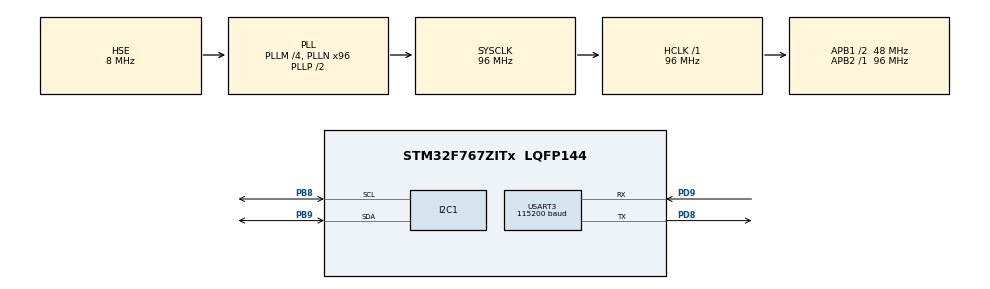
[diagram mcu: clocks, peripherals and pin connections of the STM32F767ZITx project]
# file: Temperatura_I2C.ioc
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I2C1.I2C_Fall_Time=100
I2C1.I2C_Rise_Time=100
I2C1.Timing=0x10805D88
Mcu.Family=STM32F7
Mcu.Name=STM32F767ZITx
Mcu.Package=LQFP144
NVIC.PriorityGroup=NVIC_PRIORITYGROUP_4
PB8.Mode=I2C
PB8.Signal=I2C1_SCL
PB9.Mode=I2C
PB9.Signal=I2C1_SDA
PC14/OSC32_IN.Mode=LSE-External-Oscillator
PC14/OSC32_IN.Signal=RCC_OSC32_IN
PC15/OSC32_OUT.Mode=LSE-External-Oscillator
PC15/OSC32_OUT.Signal=RCC_OSC32_OUT
PD8.Mode=Asynchronous
PD8.Signal=USART3_TX
PD9.Mode=Asynchronous
PD9.Signal=USART3_RX
PH0/OSC_IN.Mode=HSE-External-Oscillator
PH0/OSC_IN.Signal=RCC_OSC_IN
PH1/OSC_OUT.Mode=HSE-External-Oscillator
PH1/OSC_OUT.Signal=RCC_OSC_OUT
ProjectManager.HeapSize=0x200
ProjectManager.StackSize=0x400
ProjectManager.TargetToolchain=STM32CubeIDE
RCC.48MHZClocksFreq_Value=24000000
RCC.AHBFreq_Value=96000000
RCC.APB1CLKDivider=RCC_HCLK_DIV2
RCC.APB1Freq_Value=48000000
RCC.APB1TimFreq_Value=96000000
RCC.APB2Freq_Value=96000000
RCC.APB2TimFreq_Value=96000000
RCC.CortexFreq_Value=96000000
RCC.HCLKFreq_Value=96000000
RCC.HSE_VALUE=8000000
RCC.HSI_VALUE=16000000
RCC.PLLM=4
RCC.PLLMUL=RCC_PLL_MUL9
RCC.PLLN=96
RCC.PLLQ=4
RCC.PLLSourceVirtual=RCC_PLLSOURCE_HSE
RCC.PRESCALERUSB=RCC_USBCLKSOURCE_PLL_DIV1_5
RCC.SYSCLKFreq_VALUE=96000000
RCC.SYSCLKSource=RCC_SYSCLKSOURCE_PLLCLK
RCC.SYSCLKSourceVirtual=RCC_SYSCLKSOURCE_PLLCLK
RCC.USBFreq_Value=48000000
RCC.VCOOutputFreq_Value=192000000
USART3.BaudRate=115200
USART3.VirtualMode-Asynchronous=VM_ASYNC
board=NUCLEO-F767ZI

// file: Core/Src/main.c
/* USER CODE BEGIN Header */
/**
  ******************************************************************************
  * @file           : main.c
  * @brief          : Main program body
  ******************************************************************************
  * @attention
  *
  * Copyright (c) 2022 STMicroelectronics.
  * All rights reserved.
  *
  * This software is licensed under terms that can be found in the LICENSE file
  * in the root directory of this software component.
  * If no LICENSE file comes with this software, it is provided AS-IS.
  *
  ******************************************************************************
  */
/* USER CODE END Header */
#include "main.h"
#include <stdio.h>
#include <stdlib.h>
#include <string.h>

I2C_HandleTypeDef hi2c1;

UART_HandleTypeDef huart3;

void SystemClock_Config(void);
static void MX_GPIO_Init(void);
static void MX_USART3_UART_Init(void);
static void MX_I2C1_Init(void);

int main(void)
{

  /* MCU Configuration--------------------------------------------------------*/

  /* Reset of all peripherals, Initializes the Flash interface and the Systick. */
  HAL_Init();

  /* Configure the system clock */
  SystemClock_Config();

  /* Initialize all configured peripherals */
  MX_GPIO_Init();
  MX_USART3_UART_Init();
  MX_I2C1_Init();

  /* USER CODE BEGIN 2 */
  uint8_t bufe[] = "error\r\n";
  char buffer[12];
  uint8_t buff_rx[2] = {0};
  uint8_t buff_tx[2] = {0};
  static const uint8_t ADDR_W = 0x90;
  static const uint8_t POINTER_Temp = 0x00;
  uint16_t val = 0;
  uint16_t a1 = 0;
  uint16_t a0 = 0;
  float temp;
  HAL_StatusTypeDef ret;

  buff_tx[0]= POINTER_Temp;
  /* USER CODE END 2 */

  /* Infinite loop */
  /* USER CODE BEGIN WHILE */
  while (1)
  {
	  //HAL_UART_Transmit(&huart3, buf, sizeof(buf), HAL_MAX_DELAY);
	  //HAL_Delay(300);

	  ret = HAL_I2C_Master_Transmit(&hi2c1, ADDR_W, buff_tx, 1, HAL_MAX_DELAY);

	  if (ret == HAL_OK){

		  ret = HAL_I2C_Master_Receive(&hi2c1, ADDR_W, buff_rx, 2, HAL_MAX_DELAY);

		  if(ret == HAL_OK){

			  a1 = buff_rx[1];
			  a1 = (a1 >> 5);

			  a0 = buff_rx[0];
			  a0 = (a0 << 3);

			  val = (a0 | a1);

			  temp = val*0.125;

			  gcvt(temp, 3, buffer);

			  HAL_UART_Transmit(&huart3, (uint8_t*)buffer, sizeof(buffer), HAL_MAX_DELAY);
			  HAL_Delay(400);
		  }
	  }

	  if (ret != HAL_OK){
		  HAL_UART_Transmit(&huart3, bufe, sizeof(bufe), HAL_MAX_DELAY);
		  HAL_Delay(300);
	  }

    /* USER CODE END WHILE */

  }
}

void SystemClock_Config(void)
{
  RCC_OscInitTypeDef RCC_OscInitStruct = {0};
  RCC_ClkInitTypeDef RCC_ClkInitStruct = {0};

  /** Configure LSE Drive Capability
  */
  HAL_PWR_EnableBkUpAccess();

  /** Configure the main internal regulator output voltage
  */
  __HAL_RCC_PWR_CLK_ENABLE();
  __HAL_PWR_VOLTAGESCALING_CONFIG(PWR_REGULATOR_VOLTAGE_SCALE3);

  /** Initializes the RCC Oscillators according to the specified parameters
  * in the RCC_OscInitTypeDef structure.
  */
  RCC_OscInitStruct.OscillatorType = RCC_OSCILLATORTYPE_HSE;
  RCC_OscInitStruct.HSEState = RCC_HSE_ON;
  RCC_OscInitStruct.PLL.PLLState = RCC_PLL_ON;
  RCC_OscInitStruct.PLL.PLLSource = RCC_PLLSOURCE_HSE;
  RCC_OscInitStruct.PLL.PLLM = 4;
  RCC_OscInitStruct.PLL.PLLN = 96;
  RCC_OscInitStruct.PLL.PLLP = RCC_PLLP_DIV2;
  RCC_OscInitStruct.PLL.PLLQ = 4;
  RCC_OscInitStruct.PLL.PLLR = 2;
  if (HAL_RCC_OscConfig(&RCC_OscInitStruct) != HAL_OK)
  {
    Error_Handler();
  }

  /** Activate the Over-Drive mode
  */
  if (HAL_PWREx_EnableOverDrive() != HAL_OK)
  {
    Error_Handler();
  }

  /** Initializes the CPU, AHB and APB buses clocks
  */
  RCC_ClkInitStruct.ClockType = RCC_CLOCKTYPE_HCLK|RCC_CLOCKTYPE_SYSCLK
                              |RCC_CLOCKTYPE_PCLK1|RCC_CLOCKTYPE_PCLK2;
  RCC_ClkInitStruct.SYSCLKSource = RCC_SYSCLKSOURCE_PLLCLK;
  RCC_ClkInitStruct.AHBCLKDivider = RCC_SYSCLK_DIV1;
  RCC_ClkInitStruct.APB1CLKDivider = RCC_HCLK_DIV2;
  RCC_ClkInitStruct.APB2CLKDivider = RCC_HCLK_DIV1;

  if (HAL_RCC_ClockConfig(&RCC_ClkInitStruct, FLASH_LATENCY_3) != HAL_OK)
  {
    Error_Handler();
  }
}

static void MX_I2C1_Init(void)
{

  hi2c1.Instance = I2C1;
  hi2c1.Init.Timing = 0x10805D88;
  hi2c1.Init.OwnAddress1 = 0;
  hi2c1.Init.AddressingMode = I2C_ADDRESSINGMODE_7BIT;
  hi2c1.Init.DualAddressMode = I2C_DUALADDRESS_DISABLE;
  hi2c1.Init.OwnAddress2 = 0;
  hi2c1.Init.OwnAddress2Masks = I2C_OA2_NOMASK;
  hi2c1.Init.GeneralCallMode = I2C_GENERALCALL_DISABLE;
  hi2c1.Init.NoStretchMode = I2C_NOSTRETCH_DISABLE;
  if (HAL_I2C_Init(&hi2c1) != HAL_OK)
  {
    Error_Handler();
  }

  /** Configure Analogue filter
  */
  if (HAL_I2CEx_ConfigAnalogFilter(&hi2c1, I2C_ANALOGFILTER_ENABLE) != HAL_OK)
  {
    Error_Handler();
  }

  /** Configure Digital filter
  */
  if (HAL_I2CEx_ConfigDigitalFilter(&hi2c1, 0) != HAL_OK)
  {
    Error_Handler();
  }

}

static void MX_USART3_UART_Init(void)
{

  huart3.Instance = USART3;
  huart3.Init.BaudRate = 115200;
  huart3.Init.WordLength = UART_WORDLENGTH_8B;
  huart3.Init.StopBits = UART_STOPBITS_1;
  huart3.Init.Parity = UART_PARITY_NONE;
  huart3.Init.Mode = UART_MODE_TX_RX;
  huart3.Init.HwFlowCtl = UART_HWCONTROL_NONE;
  huart3.Init.OverSampling = UART_OVERSAMPLING_16;
  huart3.Init.OneBitSampling = UART_ONE_BIT_SAMPLE_DISABLE;
  huart3.AdvancedInit.AdvFeatureInit = UART_ADVFEATURE_NO_INIT;
  if (HAL_UART_Init(&huart3) != HAL_OK)
  {
    Error_Handler();
  }

}

static void MX_GPIO_Init(void)
{

  /* GPIO Ports Clock Enable */
  __HAL_RCC_GPIOC_CLK_ENABLE();
  __HAL_RCC_GPIOH_CLK_ENABLE();
  __HAL_RCC_GPIOD_CLK_ENABLE();
  __HAL_RCC_GPIOB_CLK_ENABLE();

}

void Error_Handler(void)
{
  __disable_irq();
  while (1)
  {
  }
}
